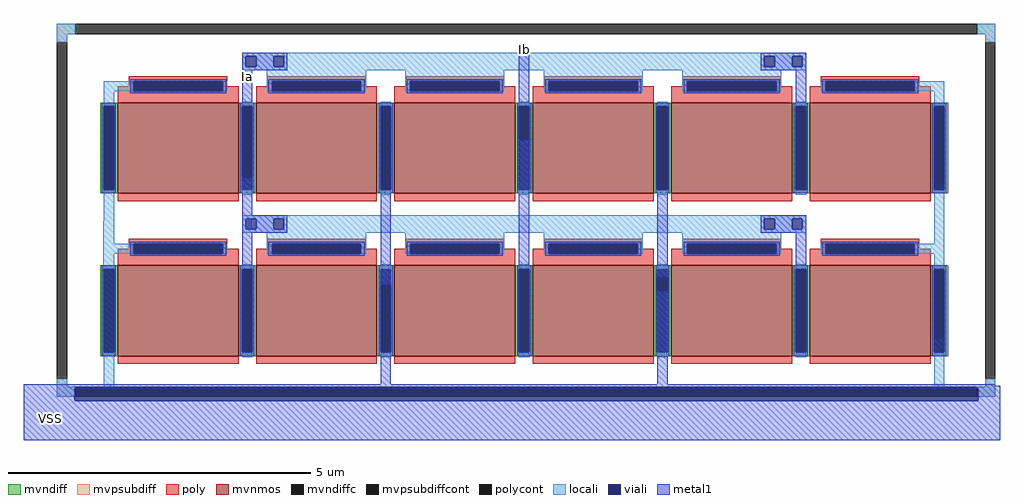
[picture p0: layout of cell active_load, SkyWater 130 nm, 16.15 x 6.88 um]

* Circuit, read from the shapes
.subckt active_load VSS Ia Ib
XM1 Ia VSS VSS VSS sky130_fd_pr__nfet_g5v0d10v5 w=1.5 l=2 m=4
XM2 VSS Ia Ia VSS sky130_fd_pr__nfet_g5v0d10v5 w=1.5 l=2 m=4
XM3 Ib Ia VSS VSS sky130_fd_pr__nfet_g5v0d10v5 w=1.5 l=2 m=4
.ends

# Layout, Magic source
magic
tech sky130A
magscale 1 2
<< mvpsubdiff >>
rect -143 553 -83 587
rect 2903 553 2963 587
rect -143 527 -109 553
rect -143 -613 -109 -587
rect 2929 527 2963 553
rect 2929 -613 2963 -587
rect -143 -647 -83 -613
rect 2903 -647 2963 -613
<< mvpsubdiffcont >>
rect -83 553 2903 587
rect -143 -587 -109 527
rect 2929 -587 2963 527
rect -83 -647 2903 -613
<< locali >>
rect -143 553 -83 587
rect 2903 553 2963 587
rect -143 527 -109 553
rect 2929 527 2963 553
rect 12 -66 46 32
rect 10 -514 46 -66
rect 2760 -206 2794 44
rect -143 -613 -109 -587
rect 12 -613 46 -514
rect 2760 -613 2794 -454
rect 2929 -613 2963 -587
rect -143 -618 -83 -613
rect 2903 -618 2963 -613
rect -143 -647 -84 -618
rect 2906 -647 2963 -618
<< viali >>
rect -84 -647 -83 -618
rect -83 -647 2903 -618
rect 2903 -647 2906 -618
rect -84 -660 2906 -647
<< metal1 >>
rect 1400 496 1410 506
rect 470 404 504 432
rect 470 -144 504 78
rect 928 -276 962 -18
rect 1386 -54 1420 204
rect 1844 -252 1878 6
rect 928 -606 962 -550
rect 1844 -606 1878 -296
rect -252 -610 2962 -606
rect -252 -618 2978 -610
rect -252 -660 -84 -618
rect 2906 -660 2978 -618
rect -252 -790 2978 -660
use sky130_fd_pr__nfet_g5v0d10v5_DLG898  sky130_fd_pr__nfet_g5v0d10v5_DLG898_0
transform 1 0 258 0 1 -331
box -258 -207 258 207
use sky130_fd_pr__nfet_g5v0d10v5_DLG898  sky130_fd_pr__nfet_g5v0d10v5_DLG898_1
transform -1 0 2548 0 1 -331
box -258 -207 258 207
use sky130_fd_pr__nfet_g5v0d10v5_DLG898  sky130_fd_pr__nfet_g5v0d10v5_DLG898_2
transform 1 0 258 0 1 207
box -258 -207 258 207
use sky130_fd_pr__nfet_g5v0d10v5_DLG898  sky130_fd_pr__nfet_g5v0d10v5_DLG898_3
transform -1 0 2548 0 1 207
box -258 -207 258 207
use sky130_fd_pr__nfet_g5v0d10v5_DLGG98  sky130_fd_pr__nfet_g5v0d10v5_DLGG98_0
transform 1 0 716 0 1 -331
box -258 -261 258 285
use sky130_fd_pr__nfet_g5v0d10v5_DLGG98  sky130_fd_pr__nfet_g5v0d10v5_DLGG98_1
transform -1 0 2090 0 1 -331
box -258 -261 258 285
use sky130_fd_pr__nfet_g5v0d10v5_DLGG98  sky130_fd_pr__nfet_g5v0d10v5_DLGG98_2
transform 1 0 716 0 1 207
box -258 -261 258 285
use sky130_fd_pr__nfet_g5v0d10v5_DLGG98  sky130_fd_pr__nfet_g5v0d10v5_DLGG98_3
transform -1 0 2090 0 1 207
box -258 -261 258 285
use sky130_fd_pr__nfet_g5v0d10v5_PM92V7  sky130_fd_pr__nfet_g5v0d10v5_PM92V7_0
transform 1 0 1403 0 1 -331
box -523 -207 553 307
use sky130_fd_pr__nfet_g5v0d10v5_PM92V7  sky130_fd_pr__nfet_g5v0d10v5_PM92V7_1
transform 1 0 1403 0 1 207
box -523 -207 553 307
<< labels >>
flabel metal1 478 404 498 420 0 FreeSans 320 0 0 0 Ia
port 3 nsew
flabel metal1 1400 496 1410 506 0 FreeSans 320 0 0 0 Ib
port 5 nsew
flabel metal1 -192 -748 -136 -690 0 FreeSans 320 0 0 0 VSS
port 1 nsew
<< end >>

# cell sky130_fd_pr__nfet_g5v0d10v5_DLG898: kit device sky130_fd_pr__nfet_g5v0d10v5, w 1.5 l 2 m 1 nf 1 diffcov 100 polycov 80 guard 0 glc 1 grc 1 gtc 1 gbc 1 tbcov 100 rlcov 100 topc 1 botc 0 poverlap 0 doverlap 1 lmin 0.50 wmin 0.42 class mosfet compatible {sky130_fd_pr__nfet_01v8 sky130_fd_pr__nfet_01v8_lvt sky130_fd_bs_flash__special_sonosfet_star sky130_fd_pr__nfet_g5v0d10v5 sky130_fd_pr__nfet_05v0_nvt sky130_fd_pr__nfet_03v3_nvt} full_metal 1 viasrc 100 viadrn 100 viagate 80 viagb 0 viagr 0 viagl 0 viagt 0

# cell sky130_fd_pr__nfet_g5v0d10v5_DLGG98: kit device sky130_fd_pr__nfet_g5v0d10v5, w 1.5 l 2 m 1 nf 1 diffcov 100 polycov 80 guard 0 glc 1 grc 1 gtc 1 gbc 1 tbcov 100 rlcov 100 topc 1 botc 0 poverlap 0 doverlap 1 lmin 0.50 wmin 0.42 class mosfet compatible {sky130_fd_pr__nfet_01v8 sky130_fd_pr__nfet_01v8_lvt sky130_fd_bs_flash__special_sonosfet_star sky130_fd_pr__nfet_g5v0d10v5 sky130_fd_pr__nfet_05v0_nvt sky130_fd_pr__nfet_03v3_nvt} full_metal 0 viasrc 100 viadrn 100 viagate 80 viagb 0 viagr 0 viagl 0 viagt 0

# cell sky130_fd_pr__nfet_g5v0d10v5_PM92V7: kit device sky130_fd_pr__nfet_g5v0d10v5, w 1.5 l 2 m 1 nf 2 diffcov 100 polycov 80 guard 0 glc 1 grc 1 gtc 1 gbc 1 tbcov 100 rlcov 100 topc 1 botc 0 poverlap 0 doverlap 1 lmin 0.50 wmin 0.42 class mosfet compatible {sky130_fd_pr__nfet_01v8 sky130_fd_pr__nfet_01v8_lvt sky130_fd_bs_flash__special_sonosfet_star sky130_fd_pr__nfet_g5v0d10v5 sky130_fd_pr__nfet_05v0_nvt sky130_fd_pr__nfet_03v3_nvt} full_metal 0 viasrc 100 viadrn 100 viagate 80 viagb 0 viagr 0 viagl 0 viagt 0
